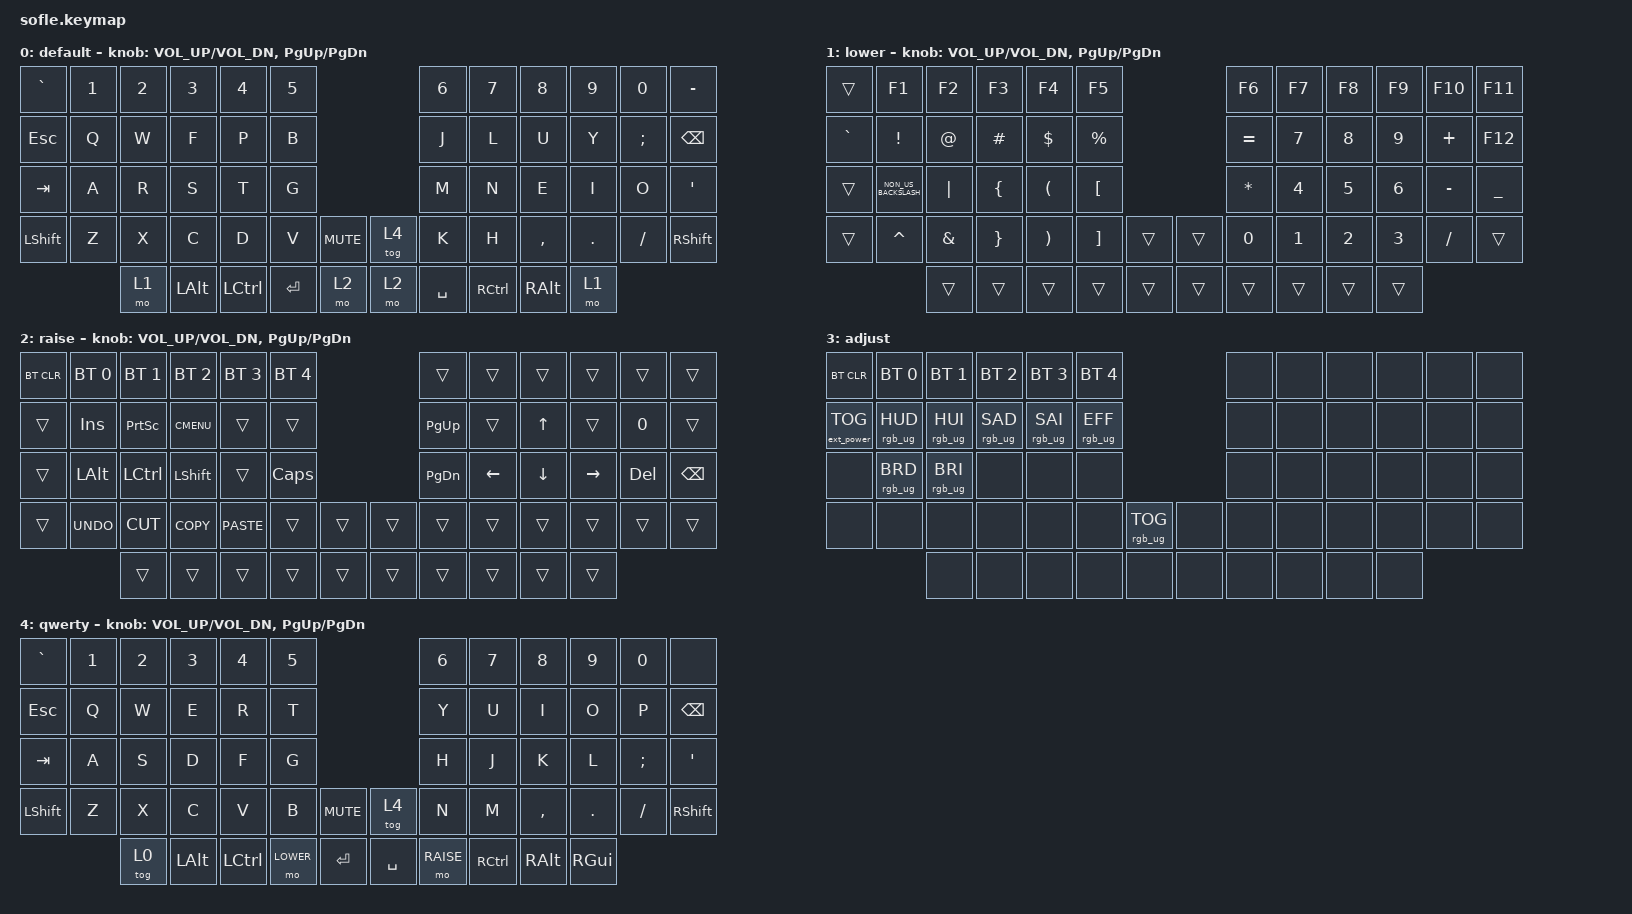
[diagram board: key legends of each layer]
/*
 * Copyright (c) 2020 The ZMK Contributors
 *
 * SPDX-License-Identifier: MIT
 */

#include <behaviors.dtsi>
#include <dt-bindings/zmk/bt.h>
#include <dt-bindings/zmk/ext_power.h>
#include <dt-bindings/zmk/keys.h>
#include <dt-bindings/zmk/rgb.h>

#define BASE 0
#define LOWER 1
#define RAISE 2
#define ADJUST 3
#define QWERTY 4


/ {
    conditional_layers {
        compatible = "zmk,conditional-layers";
        qwerty_layer {
            if-layers = <LOWER RAISE>;
            then-layer = <ADJUST>;
        };
    };

    keymap {
        compatible = "zmk,keymap";

        default_layer {
            display-name = "default";

            // ------------------------------------------------------------------------------------------------------------
            // |   `   |  1  |  2  |  3   |  4   |  5   |                   |  6   |  7    |  8    |  9   |   0   |   -   |
            // |  ESC  |  Q  |  W  |  F   |  P   |  B   |                   |  J   |  L    |  U    |  Y   |   ;   | BKSPC |
            // |  TAB  |  A  |  R  |  S   |  T   |  G   |                   |  M   |  N    |  E    |  I   |   O   |   '   |
            // | SHIFT |  Z  |  X  |  C   |  D   |  V   |  MUTE  |  | QWERTY|  K   |  H    |  ,    |  .   |   /   | SHIFT |
            //              |LOWER | ALT  | CTRL | ENTER|  RAISE |  | RAISE | SPACE| CTRL  | ALT   | LOWER|

            bindings = <
&kp GRAVE  &kp N1  &kp N2  &kp N3    &kp N4     &kp N5                          &kp N6     &kp N7     &kp N8     &kp N9    &kp N0         &kp MINUS
&kp ESC    &kp Q   &kp W   &kp F     &kp P      &kp B                           &kp J      &kp L      &kp U      &kp Y     &kp SEMICOLON  &kp BSPC
&kp TAB    &kp A   &kp R   &kp S     &kp T      &kp G                           &kp M      &kp N      &kp E      &kp I     &kp O          &kp SQT
&kp LSHFT  &kp Z   &kp X   &kp C     &kp D      &kp V     &kp C_MUTE   &tog 4    &kp K      &kp H      &kp COMMA  &kp DOT   &kp FSLH       &kp RSHFT
                   &mo 1   &kp LALT  &kp LCTRL  &kp ENTER &mo 2        &mo 2    &kp SPACE  &kp RCTRL  &kp RALT   &mo 1
            >;

            sensor-bindings = <&inc_dec_kp C_VOL_UP C_VOL_DN &inc_dec_kp PG_UP PG_DN>;
        };

        lower_layer {
            display-name = "lower";

            // TODO: Some binds are waiting for shifted keycode support.
            // ------------------------------------------------------------------------------------------------------------
            // |       |  F1 |  F2 |  F3  |  F4  |  F5  |                   |  F6  |  F7   |  F8   |  F9  |  F10  |  F11  |
            // |   `   |  !  |  @  |  #   |  $   |  %   |                   |  =   |  7    |  8    |  9   |   +   |  F12  |
            // |       |  \  |  |  |  {   |  (   |  [   |                   |  *   |  4    |  5    |  6   |   -   |   _   |
            // |       |  ^  |  &  |  }   |  )   |  ]   |        |  |       |  0   |  1    |  2    |  3   |   /   |       |
            //               |     |      |      |      |        |  |       |      |       |       |      |

            bindings = <
&trans     &kp F1                &kp F2         &kp F3           &kp F4                 &kp F5                               &kp F6        &kp F7        &kp F8        &kp F9        &kp F10    &kp F11
&kp GRAVE  &kp EXCLAMATION       &kp AT_SIGN    &kp HASH         &kp DOLLAR             &kp PERCENT                          &kp EQUAL     &kp N7        &kp N8        &kp N9        &kp PLUS   &kp F12
&trans     &kp NON_US_BACKSLASH  &kp PIPE       &kp LEFT_BRACE   &kp LEFT_PARENTHESIS   &kp LEFT_BRACKET                     &kp ASTERISK  &kp NUMBER_4  &kp N5        &kp NUMBER_6  &kp MINUS  &kp UNDERSCORE
&trans     &kp CARET             &kp AMPERSAND  &kp RIGHT_BRACE  &kp RIGHT_PARENTHESIS  &kp RIGHT_BRACKET  &trans    &trans  &kp NUMBER_0  &kp NUMBER_1  &kp NUMBER_2  &kp NUMBER_3  &kp SLASH  &trans
                                 &trans         &trans           &trans                 &trans             &trans    &trans  &trans        &trans        &trans        &trans
            >;

            sensor-bindings = <&inc_dec_kp C_VOL_UP C_VOL_DN &inc_dec_kp PG_UP PG_DN>;
        };

        raise_layer {
            display-name = "raise";

            // ------------------------------------------------------------------------------------------------------------
            // | BTCLR | BT1  | BT2  |  BT3  |  BT4  |  BT5 |                |      |      |       |      |       |       |
            // |       | INS  | PSCR | GUI   |       |      |                | PGUP |      |   ^   |      |       |       |
            // |       | ALT  | CTRL | SHIFT |       | CAPS |                | PGDN |   <- |   v   |  ->  |  DEL  | BKSPC |
            // |       | UNDO | CUT  | COPY  | PASTE |      |      |  |      |      |      |       |      |       |       |
            //                |      |       |       |      |      |  |      |      |      |       |      |

            bindings = <
&bt BT_CLR  &bt BT_SEL 0  &bt BT_SEL 1  &bt BT_SEL 2  &bt BT_SEL 3  &bt BT_SEL 4                    &trans     &trans    &trans    &trans     &trans   &trans
&trans      &kp INS       &kp PSCRN     &kp K_CMENU   &trans        &trans                          &kp PG_UP  &trans    &kp UP    &trans     &kp N0   &trans
&trans      &kp LALT      &kp LCTRL     &kp LSHFT     &trans        &kp CLCK                        &kp PG_DN  &kp LEFT  &kp DOWN  &kp RIGHT  &kp DEL  &kp BSPC
&trans      &kp K_UNDO    &kp K_CUT     &kp K_COPY    &kp K_PASTE   &trans        &trans    &trans  &trans     &trans    &trans    &trans     &trans   &trans
                          &trans        &trans        &trans        &trans        &trans    &trans  &trans     &trans    &trans    &trans
            >;

            sensor-bindings = <&inc_dec_kp C_VOL_UP C_VOL_DN &inc_dec_kp PG_UP PG_DN>;
        };

        adjust_layer {
            // ----------------------------------------------------------------------------------------------------------------------------
            // | BTCLR  |  BT1    |  BT2    |   BT3   |   BT4   |   BT5   |                  |      |      |       |      |       |       |
            // | EXTPWR | RGB_HUD | RGB_HUI | RGB_SAD | RGB_SAI | RGB_EFF |                  |      |      |       |      |       |       |
            // |        | RGB_BRD | RGB_BRI |         |         |         |                  |      |      |       |      |       |       |
            // |        |         |         |         |         |         | RGB_TOG | |      |      |      |       |      |       |       |
            //                    |         |         |         |         |         | |      |      |      |       |      |

            display-name = "adjust";
            bindings = <
&bt BT_CLR         &bt BT_SEL 0     &bt BT_SEL 1     &bt BT_SEL 2     &bt BT_SEL 3     &bt BT_SEL 4                               &none  &none  &none  &none  &none  &none
&ext_power EP_TOG  &rgb_ug RGB_HUD  &rgb_ug RGB_HUI  &rgb_ug RGB_SAD  &rgb_ug RGB_SAI  &rgb_ug RGB_EFF                            &none  &none  &none  &none  &none  &none
&none              &rgb_ug RGB_BRD  &rgb_ug RGB_BRI  &none            &none            &none                                      &none  &none  &none  &none  &none  &none
&none              &none            &none            &none            &none            &none            &rgb_ug RGB_TOG    &none  &none  &none  &none  &none  &none  &none
                                    &none            &none            &none            &none            &none              &none  &none  &none  &none  &none
            >;
        };

        qwerty_layer {
            display-name = "qwerty";
// ------------------------------------------------------------------------------------------------------------
// |   `   |  1  |  2  |  3   |  4   |  5   |                   |  6   |  7    |  8    |  9   |   0   |       |
// |  ESC  |  Q  |  W  |  E   |  R   |  T   |                   |  Y   |  U    |  I    |  O   |   P   | BKSPC |
// |  TAB  |  A  |  S  |  D   |  F   |  G   |                   |  H   |  J    |  K    |  L   |   ;   |   '   |
// | SHIFT |  Z  |  X  |  C   |  V   |  B   |  MUTE  |  |       |  N   |  M    |  ,    |  .   |   /   | SHIFT |
//               | DEFAULT | ALT  | CTRL | LOWER|  ENTER |  | SPACE | RAISE| CTRL  | ALT   | GUI  |
            bindings = <
&kp GRAVE &kp N1 &kp N2   &kp N3   &kp N4    &kp N5                           &kp N6 &kp N7    &kp N8    &kp N9   &kp N0   &none
&kp ESC   &kp Q  &kp W    &kp E    &kp R     &kp T                            &kp Y  &kp U     &kp I     &kp O    &kp P    &kp BSPC
&kp TAB   &kp A  &kp S    &kp D    &kp F     &kp G                            &kp H  &kp J     &kp K     &kp L    &kp SEMI &kp SQT
&kp LSHFT &kp Z  &kp X    &kp C    &kp V     &kp B      &kp C_MUTE &tog 4     &kp N  &kp M     &kp COMMA &kp DOT  &kp FSLH &kp RSHFT
                 &tog 0   &kp LALT &kp LCTRL &mo LOWER  &kp RET    &kp SPACE  &mo RAISE  &kp RCTRL &kp RALT  &kp RGUI
            >;

            sensor-bindings = <&inc_dec_kp C_VOL_UP C_VOL_DN &inc_dec_kp PG_UP PG_DN>;
        };
    };
};
